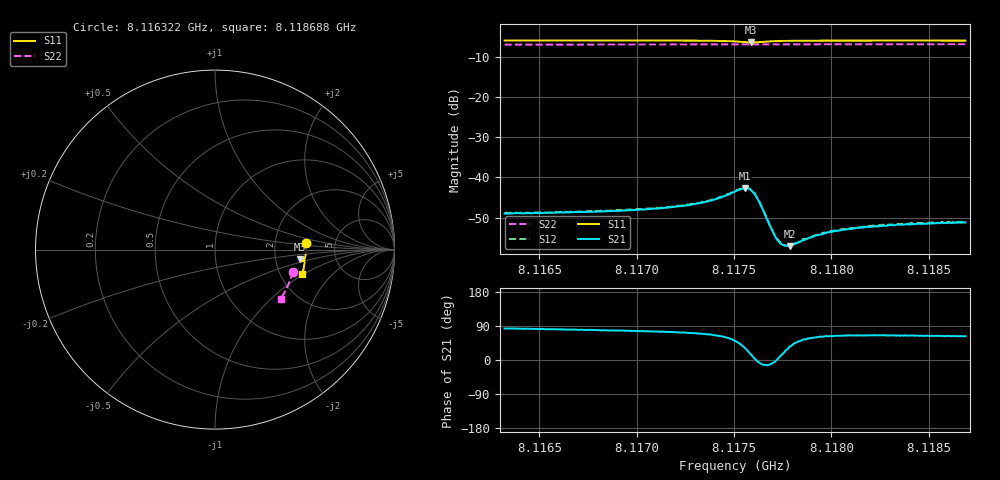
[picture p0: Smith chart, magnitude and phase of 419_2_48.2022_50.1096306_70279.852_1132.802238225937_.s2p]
#  HZ  S  RI  R  50.00
! Rohde & Schwarz Vector Network Analyzer
! Rohde-Schwarz,ZNB20-2Port,1311601062101988,3.16
! Created: UTC 3/20/2024, 11:54:51 AM
! freq[Hz]  re:S11  im:S11  re:S21  im:S21  re:S12  im:S12  re:S22  im:S22
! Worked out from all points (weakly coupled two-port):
!   401 points, 8.116322 GHz to 8.118688 GHz, reference 50 ohm
!   highest |S21| = -42.67 dB at 8.117558 GHz (marker M1); lowest = -57.1 dB at 8.117789 GHz (marker M2)
!   lowest |S11| = -6.4 dB at 8.117588 GHz (marker M3), VSWR 2.83, Z = 138 - j19.7 ohm
!   |S11| at or under -10 dB: nowhere
!   |S22| runs from -6.9 to -6.8 dB; largest |S21 - S12| = 0.00019
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8.116322e9  0.5058 0.0344  0.000434 0.00353  0.000461 0.0036  0.4324 -0.123
8.1167183e9  0.5065 0.00433  0.000668 0.00366  0.000713 0.00372  0.4252 -0.1496
8.1171147e9  0.5047 -0.0267  0.0011 0.00398  0.00113 0.00403  0.4162 -0.1758
8.1172567e9  0.5032 -0.0388  0.00141 0.00429  0.00147 0.00434  0.4126 -0.185
8.1173573e9  0.5009 -0.0482  0.00186 0.00463  0.00192 0.00466  0.4097 -0.1916
8.1174164e9  0.4984 -0.0542  0.00238 0.00493  0.00246 0.00498  0.408 -0.1955
8.1175052e9  0.4895 -0.0632  0.00425 0.00517  0.00437 0.00525  0.4051 -0.2011
8.1175584e9  0.4785 -0.0621  0.00634 0.00374  0.00646 0.00377  0.4033 -0.2041
8.117588e9  0.4751 -0.0549  0.0067 0.00166  0.00687 0.00164  0.4024 -0.2054
8.1176057e9  0.4766 -0.0501  0.0062 0.000384  0.00635 0.000365  0.402 -0.2064
8.1176235e9  0.4802 -0.047  0.00524 -0.000438  0.00533 -0.000517  0.4016 -0.2074
8.1176945e9  0.4937 -0.0503  0.00221 -0.000364  0.00225 -0.000416  0.4003 -0.2119
8.117724e9  0.4961 -0.0541  0.00166 6.66e-05  0.00172 5.77e-05  0.3995 -0.214
8.1177536e9  0.4976 -0.0578  0.00137 0.00045  0.00136 0.000482  0.3985 -0.2159
8.1177655e9  0.4979 -0.0594  0.00127 0.000611  0.00128 0.000623  0.3984 -0.2166
8.1177891e9  0.4983 -0.0621  0.00114 0.000811  0.0012 0.000837  0.3976 -0.2182
8.1179015e9  0.4987 -0.0733  0.000951 0.00154  0.000952 0.00157  0.3939 -0.2253
8.1179784e9  0.498 -0.0803  0.000951 0.00185  0.000958 0.00186  0.3914 -0.2302
8.1180494e9  0.4973 -0.0862  0.00097 0.00198  0.00102 0.00203  0.3891 -0.2347
8.1181322e9  0.4962 -0.0928  0.00102 0.00214  0.00103 0.00216  0.3861 -0.2397
8.1182979e9  0.4937 -0.1056  0.0011 0.0023  0.00113 0.00235  0.3803 -0.2498
8.1186883e9  0.4863 -0.1345  0.00126 0.00246  0.00127 0.00251  0.3655 -0.2728
